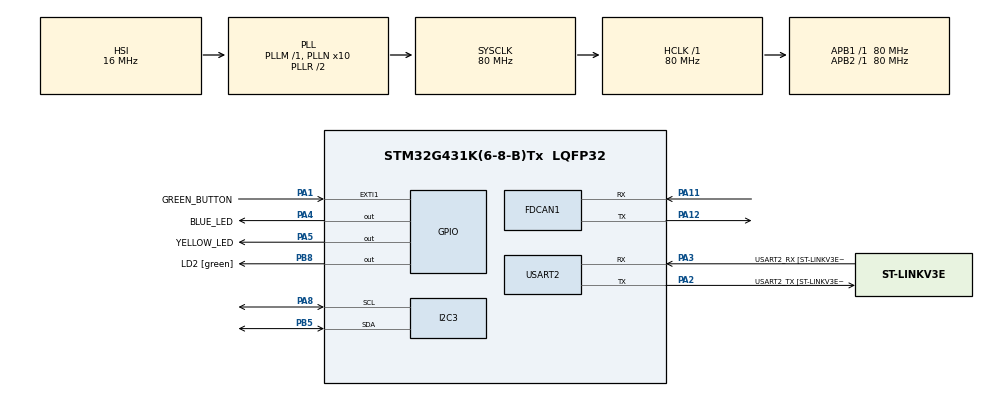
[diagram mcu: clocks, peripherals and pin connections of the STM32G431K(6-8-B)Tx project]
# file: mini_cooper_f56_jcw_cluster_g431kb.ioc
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ADC1.Channel-0\#ChannelRegularConversion=ADC_CHANNEL_TEMPSENSOR_ADC1
ADC1.Channel-1\#ChannelRegularConversion=ADC_CHANNEL_VREFINT
ADC1.ContinuousConvMode=ENABLE
ADC1.DMAContinuousRequests=ENABLE
ADC1.ExternalTrigConv=ADC_EXTERNALTRIG_T3_TRGO
ADC1.NbrOfConversion=2
ADC1.NbrOfConversionFlag=1
ADC1.OffsetNumber-0\#ChannelRegularConversion=ADC_OFFSET_NONE
ADC1.OffsetNumber-1\#ChannelRegularConversion=ADC_OFFSET_NONE
ADC1.Rank-0\#ChannelRegularConversion=1
ADC1.Rank-1\#ChannelRegularConversion=2
ADC1.SamplingTime-0\#ChannelRegularConversion=ADC_SAMPLETIME_640CYCLES_5
ADC1.SamplingTime-1\#ChannelRegularConversion=ADC_SAMPLETIME_640CYCLES_5
ADC1.master=1
Dma.ADC1.0.Direction=DMA_PERIPH_TO_MEMORY
Dma.ADC1.0.EventEnable=DISABLE
Dma.ADC1.0.Instance=DMA1_Channel1
Dma.ADC1.0.MemDataAlignment=DMA_MDATAALIGN_HALFWORD
Dma.ADC1.0.MemInc=DMA_MINC_ENABLE
Dma.ADC1.0.Mode=DMA_CIRCULAR
Dma.ADC1.0.PeriphDataAlignment=DMA_PDATAALIGN_HALFWORD
Dma.ADC1.0.PeriphInc=DMA_PINC_DISABLE
Dma.ADC1.0.Polarity=HAL_DMAMUX_REQ_GEN_RISING
Dma.ADC1.0.Priority=DMA_PRIORITY_LOW
Dma.ADC1.0.RequestNumber=1
Dma.ADC1.0.SignalID=NONE
Dma.ADC1.0.SyncEnable=DISABLE
Dma.ADC1.0.SyncPolarity=HAL_DMAMUX_SYNC_NO_EVENT
Dma.ADC1.0.SyncRequestNumber=1
Dma.ADC1.0.SyncSignalID=NONE
Dma.Request0=ADC1
FDCAN1.AutoRetransmission=ENABLE
FDCAN1.CalculateBaudRateNominal=500000
FDCAN1.CalculateTimeBitNominal=2000
FDCAN1.CalculateTimeQuantumNominal=125.0
FDCAN1.ClockDivider=FDCAN_CLOCK_DIV1
FDCAN1.DataPrescaler=10
FDCAN1.DataSyncJumpWidth=3
FDCAN1.DataTimeSeg1=12
FDCAN1.DataTimeSeg2=3
FDCAN1.NominalPrescaler=10
FDCAN1.NominalSyncJumpWidth=3
FDCAN1.NominalTimeSeg1=12
FDCAN1.NominalTimeSeg2=3
FDCAN1.StdFiltersNbr=2
I2C3.Timing=0x10D19CE4
Mcu.Family=STM32G4
Mcu.Name=STM32G431K(6-8-B)Tx
Mcu.Package=LQFP32
NVIC.ADC1_2_IRQn=true\:0\:0\:false\:false\:true\:true\:true\:true
NVIC.DMA1_Channel1_IRQn=true\:0\:0\:false\:false\:true\:false\:true\:true
NVIC.EXTI1_IRQn=true\:0\:0\:false\:false\:true\:true\:true\:true
NVIC.FDCAN1_IT0_IRQn=true\:0\:0\:false\:false\:true\:true\:true\:true
NVIC.FDCAN1_IT1_IRQn=true\:0\:0\:false\:false\:true\:true\:true\:true
NVIC.PriorityGroup=NVIC_PRIORITYGROUP_4
PA1.GPIO_Label=GREEN_BUTTON
PA1.GPIO_ModeDefaultEXTI=GPIO_MODE_IT_FALLING
PA1.GPIO_PuPd=GPIO_PULLUP
PA1.Signal=GPXTI1
PA11.Mode=FDCAN_Activate
PA11.Signal=FDCAN1_RX
PA12.Mode=FDCAN_Activate
PA12.Signal=FDCAN1_TX
PA13.GPIO_Label=T_SWDIO
PA13.Mode=Serial_Wire
PA13.Signal=SYS_JTMS-SWDIO
PA14.GPIO_Label=T_SWCLK
PA14.Mode=Serial_Wire
PA14.Signal=SYS_JTCK-SWCLK
PA2.GPIO_Label=USART2_TX [ST-LINKV3E_VCP_RX]
PA2.Mode=Asynchronous
PA2.Signal=USART2_TX
PA3.GPIO_Label=USART2_RX [ST-LINKV3E_VCP_TX]
PA3.Mode=Asynchronous
PA3.Signal=USART2_RX
PA4.GPIO_Label=BLUE_LED
PA4.Signal=GPIO_Output
PA5.GPIO_Label=YELLOW_LED
PA5.Signal=GPIO_Output
PA8.Mode=I2C
PA8.Signal=I2C3_SCL
PB3.GPIO_Label=T_SWO
PB3.Signal=SYS_JTDO-SWO
PB5.Mode=I2C
PB5.Signal=I2C3_SDA
PB8-BOOT0.GPIO_Label=LD2 [green]
PB8-BOOT0.Signal=GPIO_Output
ProjectManager.HeapSize=0x200
ProjectManager.StackSize=0x400
ProjectManager.TargetToolchain=STM32CubeIDE
RCC.ADC12Freq_Value=80000000
RCC.AHBFreq_Value=80000000
RCC.APB1Freq_Value=80000000
RCC.APB1TimFreq_Value=80000000
RCC.APB2Freq_Value=80000000
RCC.APB2TimFreq_Value=80000000
RCC.CK48CLockSelection=RCC_USBCLKSOURCE_HSI48
RCC.CortexFreq_Value=80000000
RCC.EXTERNAL_CLOCK_VALUE=12288000
RCC.HCLKFreq_Value=80000000
RCC.HSE_VALUE=8000000
RCC.HSI48_VALUE=48000000
RCC.HSI_VALUE=16000000
RCC.LSE_VALUE=32768
RCC.PLLN=10
RCC.PLLQ=RCC_PLLQ_DIV4
RCC.SYSCLKFreq_VALUE=80000000
RCC.SYSCLKSource=RCC_SYSCLKSOURCE_PLLCLK
RCC.USBFreq_Value=48000000
RCC.VCOOutputFreq_Value=160000000
TIM3.PeriodNoDither=10000-1
TIM3.Prescaler=500-1
TIM3.TIM_MasterOutputTrigger=TIM_TRGO_UPDATE
USART2.VirtualMode-Asynchronous=VM_ASYNC
USART2.WordLength=WORDLENGTH_8B
VP_ADC1_TempSens_Input.Mode=IN-TempSens
VP_ADC1_Vref_Input.Mode=IN-Vrefint
VP_SYS_VS_DBSignals.Mode=DisableDeadBatterySignals
VP_TIM3_VS_ClockSourceINT.Mode=Internal
board=NUCLEO-G431KB

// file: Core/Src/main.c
/* USER CODE BEGIN Header */
/**
 ******************************************************************************
 * @file           : main.c
 * @brief          : Main program body
 ******************************************************************************
 * @attention
 *
 * Copyright (c) 2025 STMicroelectronics.
 * All rights reserved.
 *
 * This software is licensed under terms that can be found in the LICENSE file
 * in the root directory of this software component.
 * If no LICENSE file comes with this software, it is provided AS-IS.
 *
 ******************************************************************************
 */
/* USER CODE END Header */
#include "main.h"
#include "adc.h"
#include "dma.h"
#include "fdcan.h"
#include "i2c.h"
#include "tim.h"
#include "usart.h"
#include "gpio.h"

/* USER CODE BEGIN Includes */
#include <stdio.h>
#include <string.h>
#include "ssd1306.h"
#include "mini_cooper.h"
/* USER CODE END Includes */

/* USER CODE BEGIN PD */
#define CAN_MSG_TIME_SPACING 5
#define OLED_REFRESH_PERIOD 250
/* USER CODE END PD */

/* USER CODE BEGIN PV */
FDCAN_RxHeaderTypeDef rxHeader;
uint8_t rxData[8];

FDCAN_RxHeaderTypeDef rxHeaderTemperature;
uint8_t rxDataTemperature[8];
float temperature_ntc = 0;

extern FDCAN_TxHeaderTypeDef TxHeader;

uint32_t SoftwareTimer100;
uint32_t SoftwareTimer1000;
uint32_t OledSoftwareTimer;

char lcd_line[32];

extern uint8_t rolling_counter;  // alive counter (0 - 14)

volatile uint8_t green_button_pressed = 0;
volatile uint8_t crc8_error = 0;
volatile uint8_t crc8_actual = 0;
volatile uint8_t crc8_appended = 0;
volatile uint8_t counter_prev = 0;
volatile uint8_t counter_error = 0;
volatile uint8_t error_flag = 0;

/* USER CODE END PV */

void SystemClock_Config(void);

int main(void)
{

	/* MCU Configuration--------------------------------------------------------*/

	/* Reset of all peripherals, Initializes the Flash interface and the Systick. */
	HAL_Init();

	/* Configure the system clock */
	SystemClock_Config();

	/* Initialize all configured peripherals */
	MX_GPIO_Init();
	MX_DMA_Init();
	MX_USART2_UART_Init();
	MX_FDCAN1_Init();
	MX_I2C3_Init();
	MX_ADC1_Init();
	MX_TIM3_Init();
	/* USER CODE BEGIN 2 */
	ssd1306_Init();
	ssd1306_Fill(Black);
	ssd1306_SetCursor(20, 0);
	ssd1306_WriteString("ufnalski.edu.pl", Font_6x8, White);
	ssd1306_SetCursor(12, 12);
	ssd1306_WriteString("MINI Cooper (F56)", Font_6x8, White);
	ssd1306_SetCursor(12, 22);
	ssd1306_WriteString("John Cooper Works", Font_6x8, White);
	ssd1306_SetCursor(8, 32);
	ssd1306_WriteString("instrument cluster", Font_6x8, White);
	ssd1306_UpdateScreen();

	HAL_FDCAN_ConfigGlobalFilter(&hfdcan1, FDCAN_REJECT, FDCAN_REJECT,
	FDCAN_REJECT_REMOTE, FDCAN_REJECT_REMOTE);

	if (HAL_FDCAN_Start(&hfdcan1) != HAL_OK)
	{
		Error_Handler();
	}

	// air quality sensor
	if (HAL_FDCAN_ActivateNotification(&hfdcan1, FDCAN_IT_RX_FIFO0_NEW_MESSAGE,
			0) != HAL_OK)
	{
		/* Notification Error */
		Error_Handler();
	}

	// temperature sensor
	if (HAL_FDCAN_ActivateNotification(&hfdcan1, FDCAN_IT_RX_FIFO1_NEW_MESSAGE,
			0) != HAL_OK)
	{
		/* Notification Error */
		Error_Handler();
	}

	TxHeader.IdType = FDCAN_STANDARD_ID;
	TxHeader.TxFrameType = FDCAN_DATA_FRAME;
	TxHeader.ErrorStateIndicator = FDCAN_ESI_ACTIVE;
	TxHeader.BitRateSwitch = FDCAN_BRS_OFF;
	TxHeader.FDFormat = FDCAN_FD_CAN;
	TxHeader.TxEventFifoControl = FDCAN_NO_TX_EVENTS;
	TxHeader.MessageMarker = 0;

	SoftwareTimer100 = HAL_GetTick();
	SoftwareTimer1000 = HAL_GetTick();
	OledSoftwareTimer = HAL_GetTick();

	GenerateCooperCrc8Table();
	/* USER CODE END 2 */

	/* Infinite loop */
	/* USER CODE BEGIN WHILE */
	while (1)
	{

		if (HAL_GetTick() - SoftwareTimer100 > 100)
		{
			SoftwareTimer100 = HAL_GetTick();
			send_ignition_on(CAN_MSG_TIME_SPACING);
			send_speed(200, CAN_MSG_TIME_SPACING);
			send_rpm(6000, 6, CAN_MSG_TIME_SPACING);
			send_fuel(95, CAN_MSG_TIME_SPACING);
			send_acc(CAN_MSG_TIME_SPACING);

			rolling_counter++;
			rolling_counter %= 0x0F;
		}

		if (HAL_GetTick() - SoftwareTimer1000 > 1000)
		{
			SoftwareTimer1000 = HAL_GetTick();
			send_backlight_brightness(80, CAN_MSG_TIME_SPACING);
			send_lights(1, 1, 1, 1, CAN_MSG_TIME_SPACING);
			send_button_released(CAN_MSG_TIME_SPACING);
		}

		if (green_button_pressed == 1)
		{
			green_button_pressed = 0;
			send_blinkers(1, 1, CAN_MSG_TIME_SPACING);
			send_button_pressed(CAN_MSG_TIME_SPACING);
		}

		if (HAL_GetTick() - OledSoftwareTimer > OLED_REFRESH_PERIOD)
		{
			OledSoftwareTimer = HAL_GetTick();

			ssd1306_SetCursor(2, 46);
			sprintf(lcd_line, "T_amb = %.1f deg. C  ", temperature_ntc);
			ssd1306_WriteString(lcd_line, Font_6x8, White);
			ssd1306_SetCursor(2, 56);
			if (error_flag == 1)
			{

				sprintf(lcd_line, "CRC8: %s, RCNT: %s    ",
						crc8_error ? "ERR" : " OK",
						counter_error ? "ERR" : " OK");

				error_flag = 0;
			}
			else
			{
				sprintf(lcd_line, "CRC8:  OK, RCNT:  OK    ");
			}
			ssd1306_WriteString(lcd_line, Font_6x8, White);
			ssd1306_UpdateScreen();
		}
		/* USER CODE END WHILE */

	}
}

void SystemClock_Config(void)
{
	RCC_OscInitTypeDef RCC_OscInitStruct =
	{ 0 };
	RCC_ClkInitTypeDef RCC_ClkInitStruct =
	{ 0 };

	/** Configure the main internal regulator output voltage
	 */
	HAL_PWREx_ControlVoltageScaling(PWR_REGULATOR_VOLTAGE_SCALE1);

	/** Initializes the RCC Oscillators according to the specified parameters
	 * in the RCC_OscInitTypeDef structure.
	 */
	RCC_OscInitStruct.OscillatorType = RCC_OSCILLATORTYPE_HSI;
	RCC_OscInitStruct.HSIState = RCC_HSI_ON;
	RCC_OscInitStruct.HSICalibrationValue = RCC_HSICALIBRATION_DEFAULT;
	RCC_OscInitStruct.PLL.PLLState = RCC_PLL_ON;
	RCC_OscInitStruct.PLL.PLLSource = RCC_PLLSOURCE_HSI;
	RCC_OscInitStruct.PLL.PLLM = RCC_PLLM_DIV1;
	RCC_OscInitStruct.PLL.PLLN = 10;
	RCC_OscInitStruct.PLL.PLLP = RCC_PLLP_DIV2;
	RCC_OscInitStruct.PLL.PLLQ = RCC_PLLQ_DIV4;
	RCC_OscInitStruct.PLL.PLLR = RCC_PLLR_DIV2;
	if (HAL_RCC_OscConfig(&RCC_OscInitStruct) != HAL_OK)
	{
		Error_Handler();
	}

	/** Initializes the CPU, AHB and APB buses clocks
	 */
	RCC_ClkInitStruct.ClockType = RCC_CLOCKTYPE_HCLK | RCC_CLOCKTYPE_SYSCLK
			| RCC_CLOCKTYPE_PCLK1 | RCC_CLOCKTYPE_PCLK2;
	RCC_ClkInitStruct.SYSCLKSource = RCC_SYSCLKSOURCE_PLLCLK;
	RCC_ClkInitStruct.AHBCLKDivider = RCC_SYSCLK_DIV1;
	RCC_ClkInitStruct.APB1CLKDivider = RCC_HCLK_DIV1;
	RCC_ClkInitStruct.APB2CLKDivider = RCC_HCLK_DIV1;

	if (HAL_RCC_ClockConfig(&RCC_ClkInitStruct, FLASH_LATENCY_2) != HAL_OK)
	{
		Error_Handler();
	}
}

/* USER CODE BEGIN 4 */

void HAL_GPIO_EXTI_Callback(uint16_t GPIO_Pin)
{
	if (GPIO_Pin == GREEN_BUTTON_Pin)
	{
		green_button_pressed = 1;
		HAL_GPIO_TogglePin(LD2_GPIO_Port, LD2_Pin);
	}
}

void HAL_FDCAN_RxFifo0Callback(FDCAN_HandleTypeDef *hfdcan, uint32_t RxFifo0ITs)
{
	if ((RxFifo0ITs & FDCAN_IT_RX_FIFO0_NEW_MESSAGE) != RESET)
	{
		/* Retreive Rx messages from RX FIFO0 */
		if (HAL_FDCAN_GetRxMessage(hfdcan, FDCAN_RX_FIFO0, &rxHeader, rxData)
				!= HAL_OK)
		{
			/* Reception Error */
			Error_Handler();
		}
		else
		{
			HAL_GPIO_TogglePin(BLUE_LED_GPIO_Port, BLUE_LED_Pin);

			if (error_flag == 0)
			{
				crc8_actual = GetCooperCrc8(rxData + 1, 6, 0b11001010);
				crc8_appended = rxData[0];
				crc8_error = (crc8_actual != crc8_appended);
				counter_error = (((rxData[1]) & 0x0F)
						!= ((counter_prev == 0x0E) ?
								0x00 : (counter_prev + 0x01)));
			}
			if (crc8_error || counter_error)
			{
				error_flag = 1;
			}
			counter_prev = (rxData[1]) & 0x0F;
		}

		if (HAL_FDCAN_ActivateNotification(hfdcan,
		FDCAN_IT_RX_FIFO0_NEW_MESSAGE, 0) != HAL_OK)
		{
			/* Notification Error */
			Error_Handler();
		}
	}
}

void HAL_FDCAN_RxFifo1Callback(FDCAN_HandleTypeDef *hfdcan, uint32_t RxFifo1ITs)
{
	if ((RxFifo1ITs & FDCAN_IT_RX_FIFO1_NEW_MESSAGE) != RESET)
	{
		/* Retreive Rx messages from RX FIFO0 */
		if (HAL_FDCAN_GetRxMessage(hfdcan, FDCAN_RX_FIFO1, &rxHeaderTemperature,
				rxDataTemperature) != HAL_OK)
		{
			/* Reception Error */
			Error_Handler();
		}
		else if (rxDataTemperature[1] == 0x00) // valid temperature data?
		{
			temperature_ntc = (float) (rxDataTemperature[3]) / 2.0f - 40.0f; // = IPC displayed value (for sure different NTC)
			HAL_GPIO_TogglePin(YELLOW_LED_GPIO_Port, YELLOW_LED_Pin);
		}
		else
		{
			__NOP(); // some other data?
		}

		if (HAL_FDCAN_ActivateNotification(hfdcan,
		FDCAN_IT_RX_FIFO1_NEW_MESSAGE, 0) != HAL_OK)
		{
			/* Notification Error */
			Error_Handler();
		}
	}
}

/* USER CODE END 4 */

void Error_Handler(void)
{
	__disable_irq();
	while (1)
	{
	}
}
